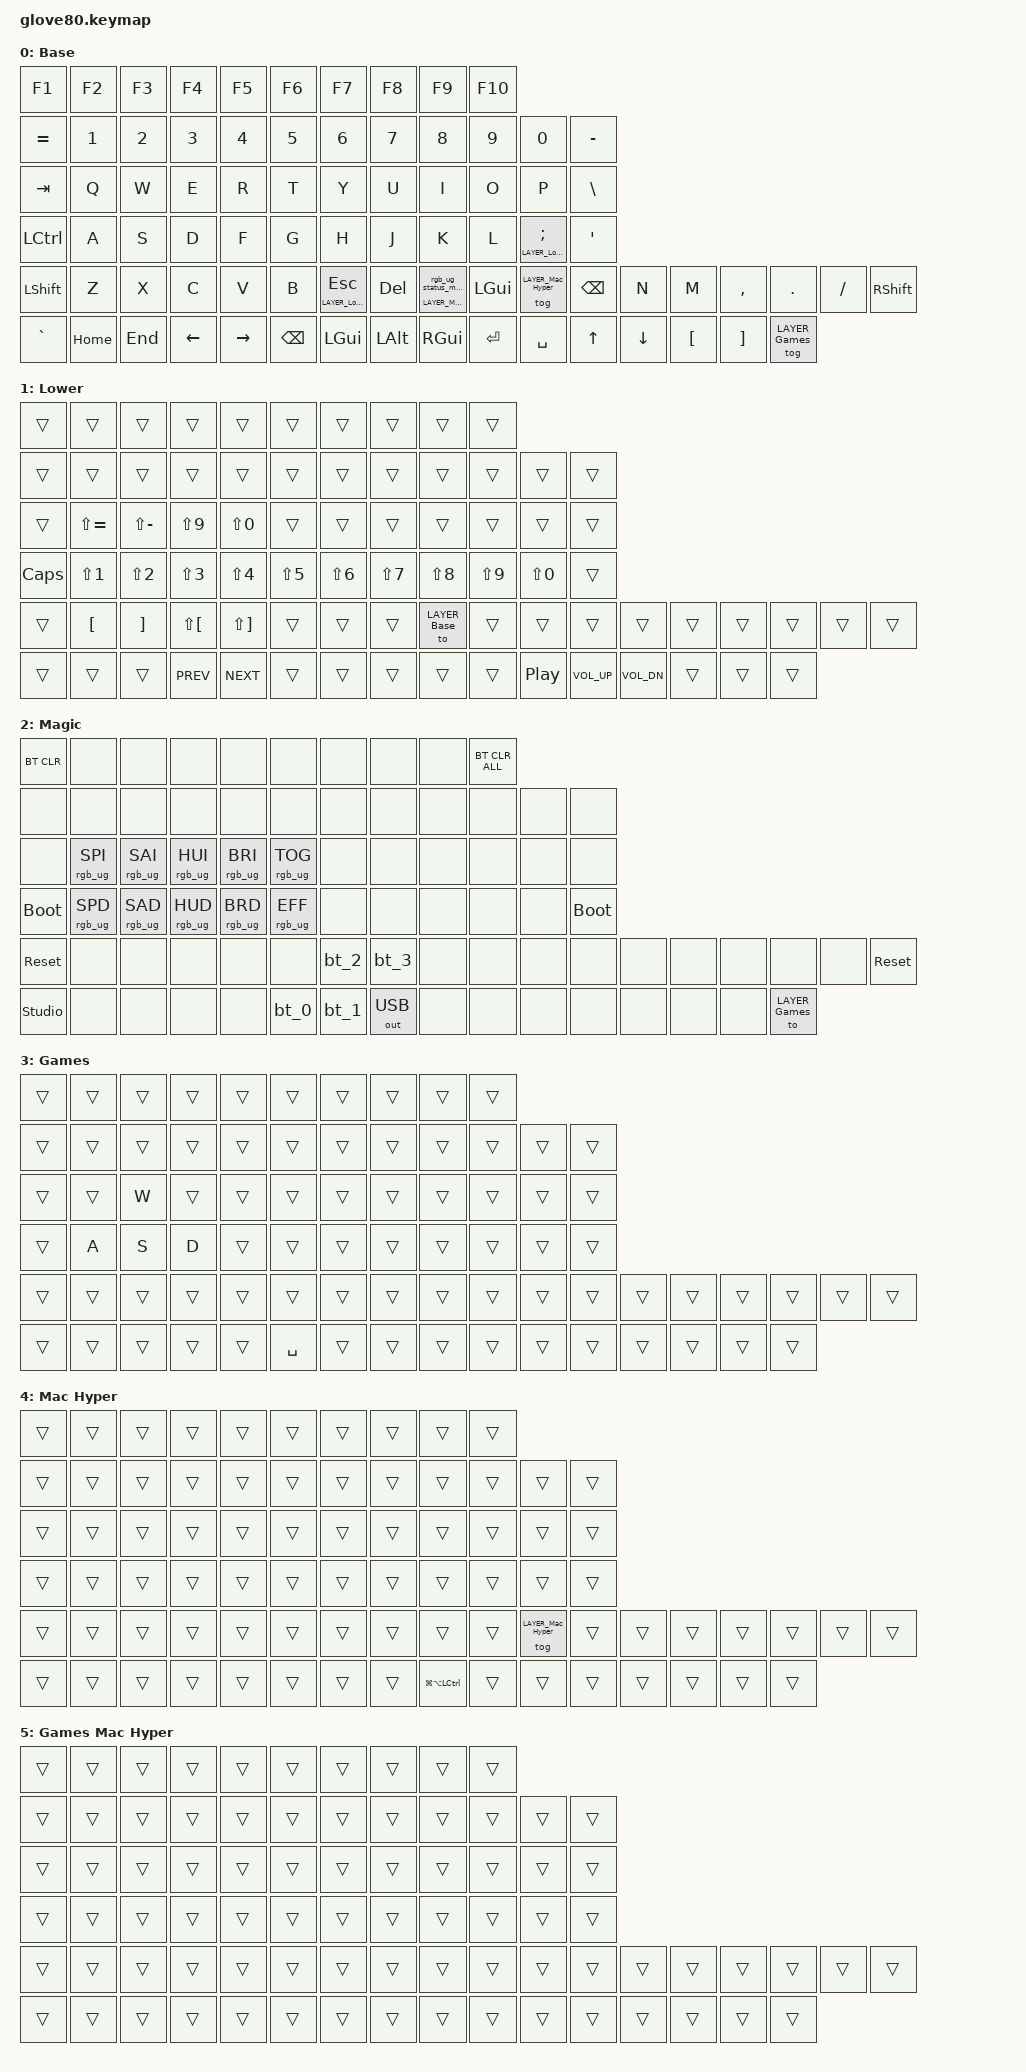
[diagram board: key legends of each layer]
/*
 * Copyright (c) 2020 The ZMK Contributors
 * Copyright (c) 2023 Innaworks Development Limited, trading as MoErgo
 *
 * SPDX-License-Identifier: MIT
 */

/* Generated from config/moergo-layout.json by scripts/generate-keymap.mjs. */

#undef ZMK_BEHAVIORS_KEEP_ALL

#include <behaviors.dtsi>
#include <dt-bindings/zmk/outputs.h>
#include <dt-bindings/zmk/keys.h>
#include <dt-bindings/zmk/bt.h>
#include <dt-bindings/zmk/rgb.h>

#define LAYER_Base 0
#define LAYER_Lower 1
#define LAYER_Magic 2
#define LAYER_Games 3
#define LAYER_Mac_Hyper 4
#define LAYER_Games_Mac_Hyper 5

#ifndef LAYER_Lower
#define LAYER_Lower 0
#endif

/ {
    conditional_layers {
        compatible = "zmk,conditional-layers";

        games_mac_hyper {
            if-layers = <LAYER_Games LAYER_Mac_Hyper>;
            then-layer = <LAYER_Games_Mac_Hyper>;
        };
    };
};

/ {
    macros {
        rgb_ug_status_macro: rgb_ug_status_macro {
            label = "RGB_UG_STATUS";
            compatible = "zmk,behavior-macro";
            #binding-cells = <0>;
            bindings = <&rgb_ug RGB_STATUS>;
        };
    };
};

/ {
#ifdef BT_DISC_CMD
    behaviors {
        bt_0: bt_0 {
            compatible = "zmk,behavior-tap-dance";
            label = "BT_0";
            #binding-cells = <0>;
            tapping-term-ms = <200>;
            bindings = <&bt_select_0>, <&bt BT_DISC 0>;
        };
        bt_1: bt_1 {
            compatible = "zmk,behavior-tap-dance";
            label = "BT_1";
            #binding-cells = <0>;
            tapping-term-ms = <200>;
            bindings = <&bt_select_1>, <&bt BT_DISC 1>;
        };
        bt_2: bt_2 {
            compatible = "zmk,behavior-tap-dance";
            label = "BT_2";
            #binding-cells = <0>;
            tapping-term-ms = <200>;
            bindings = <&bt_select_2>, <&bt BT_DISC 2>;
        };
        bt_3: bt_3 {
            compatible = "zmk,behavior-tap-dance";
            label = "BT_3";
            #binding-cells = <0>;
            tapping-term-ms = <200>;
            bindings = <&bt_select_3>, <&bt BT_DISC 3>;
        };
    };
    macros {
        bt_select_0: bt_select_0 {
            label = "BT_SELECT_0";
            compatible = "zmk,behavior-macro";
            #binding-cells = <0>;
            bindings = <&out OUT_BLE>, <&bt BT_SEL 0>;
        };
        bt_select_1: bt_select_1 {
            label = "BT_SELECT_1";
            compatible = "zmk,behavior-macro";
            #binding-cells = <0>;
            bindings = <&out OUT_BLE>, <&bt BT_SEL 1>;
        };
        bt_select_2: bt_select_2 {
            label = "BT_SELECT_2";
            compatible = "zmk,behavior-macro";
            #binding-cells = <0>;
            bindings = <&out OUT_BLE>, <&bt BT_SEL 2>;
        };
        bt_select_3: bt_select_3 {
            label = "BT_SELECT_3";
            compatible = "zmk,behavior-macro";
            #binding-cells = <0>;
            bindings = <&out OUT_BLE>, <&bt BT_SEL 3>;
        };
    };
#else
    macros {
        bt_0: bt_0 {
            label = "BT_0";
            compatible = "zmk,behavior-macro";
            #binding-cells = <0>;
            bindings = <&out OUT_BLE>, <&bt BT_SEL 0>;
        };
        bt_1: bt_1 {
            label = "BT_1";
            compatible = "zmk,behavior-macro";
            #binding-cells = <0>;
            bindings = <&out OUT_BLE>, <&bt BT_SEL 1>;
        };
        bt_2: bt_2 {
            label = "BT_2";
            compatible = "zmk,behavior-macro";
            #binding-cells = <0>;
            bindings = <&out OUT_BLE>, <&bt BT_SEL 2>;
        };
        bt_3: bt_3 {
            label = "BT_3";
            compatible = "zmk,behavior-macro";
            #binding-cells = <0>;
            bindings = <&out OUT_BLE>, <&bt BT_SEL 3>;
        };
    };
#endif
};

/ {
    behaviors {
        magic: magic {
            compatible = "zmk,behavior-hold-tap";
            label = "MAGIC_HOLD_TAP";
            #binding-cells = <2>;
            flavor = "tap-preferred";
            tapping-term-ms = <200>;
            bindings = <&mo>, <&rgb_ug_status_macro>;
        };
    };
};

/ {
    keymap {
        compatible = "zmk,keymap";

        layer_Base {
            display-name = "Base";
            bindings = <
                &kp F1  &kp F2  &kp F3  &kp F4  &kp F5  &kp F6  &kp F7  &kp F8  &kp F9  &kp F10
                &kp EQUAL  &kp N1  &kp N2  &kp N3  &kp N4  &kp N5  &kp N6  &kp N7  &kp N8  &kp N9  &kp N0  &kp MINUS
                &kp TAB  &kp Q  &kp W  &kp E  &kp R  &kp T  &kp Y  &kp U  &kp I  &kp O  &kp P  &kp BSLH
                &kp LCTRL  &kp A  &kp S  &kp D  &kp F  &kp G  &kp H  &kp J  &kp K  &kp L  &lt LAYER_Lower SEMI  &kp SQT
                &kp LSHFT  &kp Z  &kp X  &kp C  &kp V  &kp B  &lt LAYER_Lower ESC  &kp DEL  &magic LAYER_Magic 0  &kp LGUI  &tog LAYER_Mac_Hyper  &kp BSPC  &kp N  &kp M  &kp COMMA  &kp DOT  &kp FSLH  &kp RSHFT
                &kp GRAVE  &kp HOME  &kp END  &kp LEFT  &kp RIGHT  &kp BSPC  &kp LGUI  &kp LALT  &kp RGUI  &kp RET  &kp SPACE  &kp UP  &kp DOWN  &kp LBKT  &kp RBKT  &tog LAYER_Games
            >;
        };

        layer_Lower {
            display-name = "Lower";
            bindings = <
                &trans  &trans  &trans  &trans  &trans  &trans  &trans  &trans  &trans  &trans
                &trans  &trans  &trans  &trans  &trans  &trans  &trans  &trans  &trans  &trans  &trans  &trans
                &trans  &kp LS(EQUAL)  &kp LS(MINUS)  &kp LS(N9)  &kp LS(N0)  &trans  &trans  &trans  &trans  &trans  &trans  &trans
                &kp CAPS  &kp LS(N1)  &kp LS(N2)  &kp LS(N3)  &kp LS(N4)  &kp LS(N5)  &kp LS(N6)  &kp LS(N7)  &kp LS(N8)  &kp LS(N9)  &kp LS(N0)  &trans
                &trans  &kp LBKT  &kp RBKT  &kp LS(LBKT)  &kp LS(RBKT)  &trans  &trans  &trans  &to LAYER_Base  &trans  &trans  &trans  &trans  &trans  &trans  &trans  &trans  &trans
                &trans  &trans  &trans  &kp C_PREV  &kp C_NEXT  &trans  &trans  &trans  &trans  &trans  &kp C_PP  &kp C_VOL_UP  &kp C_VOL_DN  &trans  &trans  &trans
            >;
        };

        layer_Magic {
            display-name = "Magic";
            bindings = <
                &bt BT_CLR  &none  &none  &none  &none  &none  &none  &none  &none  &bt BT_CLR_ALL
                &none  &none  &none  &none  &none  &none  &none  &none  &none  &none  &none  &none
                &none  &rgb_ug RGB_SPI  &rgb_ug RGB_SAI  &rgb_ug RGB_HUI  &rgb_ug RGB_BRI  &rgb_ug RGB_TOG  &none  &none  &none  &none  &none  &none
                &bootloader  &rgb_ug RGB_SPD  &rgb_ug RGB_SAD  &rgb_ug RGB_HUD  &rgb_ug RGB_BRD  &rgb_ug RGB_EFF  &none  &none  &none  &none  &none  &bootloader
                &sys_reset  &none  &none  &none  &none  &none  &bt_2  &bt_3  &none  &none  &none  &none  &none  &none  &none  &none  &none  &sys_reset
                &studio_unlock  &none  &none  &none  &none  &bt_0  &bt_1  &out OUT_USB  &none  &none  &none  &none  &none  &none  &none  &to LAYER_Games
            >;
        };

        layer_Games {
            display-name = "Games";
            bindings = <
                &trans  &trans  &trans  &trans  &trans  &trans  &trans  &trans  &trans  &trans
                &trans  &trans  &trans  &trans  &trans  &trans  &trans  &trans  &trans  &trans  &trans  &trans
                &trans  &trans  &kp W  &trans  &trans  &trans  &trans  &trans  &trans  &trans  &trans  &trans
                &trans  &kp A  &kp S  &kp D  &trans  &trans  &trans  &trans  &trans  &trans  &trans  &trans
                &trans  &trans  &trans  &trans  &trans  &trans  &trans  &trans  &trans  &trans  &trans  &trans  &trans  &trans  &trans  &trans  &trans  &trans
                &trans  &trans  &trans  &trans  &trans  &kp SPACE  &trans  &trans  &trans  &trans  &trans  &trans  &trans  &trans  &trans  &trans
            >;
        };

        layer_Mac_Hyper {
            display-name = "Mac Hyper";
            bindings = <
                &trans  &trans  &trans  &trans  &trans  &trans  &trans  &trans  &trans  &trans
                &trans  &trans  &trans  &trans  &trans  &trans  &trans  &trans  &trans  &trans  &trans  &trans
                &trans  &trans  &trans  &trans  &trans  &trans  &trans  &trans  &trans  &trans  &trans  &trans
                &trans  &trans  &trans  &trans  &trans  &trans  &trans  &trans  &trans  &trans  &trans  &trans
                &trans  &trans  &trans  &trans  &trans  &trans  &trans  &trans  &trans  &trans  &tog LAYER_Mac_Hyper  &trans  &trans  &trans  &trans  &trans  &trans  &trans
                &trans  &trans  &trans  &trans  &trans  &trans  &trans  &trans  &kp LG(LA(LCTRL))  &trans  &trans  &trans  &trans  &trans  &trans  &trans
            >;
        };

        layer_Games_Mac_Hyper {
            display-name = "Games Mac Hyper";
            bindings = <
                &trans  &trans  &trans  &trans  &trans  &trans  &trans  &trans  &trans  &trans
                &trans  &trans  &trans  &trans  &trans  &trans  &trans  &trans  &trans  &trans  &trans  &trans
                &trans  &trans  &trans  &trans  &trans  &trans  &trans  &trans  &trans  &trans  &trans  &trans
                &trans  &trans  &trans  &trans  &trans  &trans  &trans  &trans  &trans  &trans  &trans  &trans
                &trans  &trans  &trans  &trans  &trans  &trans  &trans  &trans  &trans  &trans  &trans  &trans  &trans  &trans  &trans  &trans  &trans  &trans
                &trans  &trans  &trans  &trans  &trans  &trans  &trans  &trans  &trans  &trans  &trans  &trans  &trans  &trans  &trans  &trans
            >;
        };

        studio_reserved_1 {
            status = "reserved";
        };

        studio_reserved_2 {
            status = "reserved";
        };

        studio_reserved_3 {
            status = "reserved";
        };

        studio_reserved_4 {
            status = "reserved";
        };
    };
};
